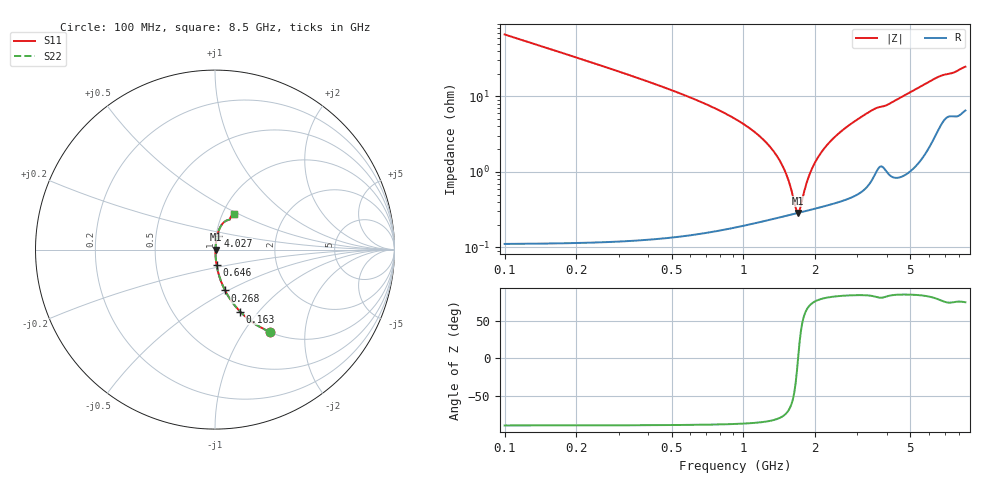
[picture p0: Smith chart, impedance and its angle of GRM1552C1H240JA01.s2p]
!Murata Part Number: GRM1552C1H240JA01
!These Parameters are Measured in Series Mode Connection
!Data Generated on Mar 30, 2021
!  o--ll--o
!Port1  Port2
!  o------o
!Operation Temp=25[degC], DC Bias Voltage=0[V]
!Freq. Start=100[MHz] Stop=9[GHz] 401[Steps]
# Hz S RI R 50
!Freq.(Hz) S11(Real) S11(Imag) S21(Real) S21(Imag) S12(Real) S12(Imag) S22(Real) S22(Imag)
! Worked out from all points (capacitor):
!   401 points, 100 MHz to 8.5 GHz, reference 50 ohm
!   read as one part in series: C = 24 pF near 142 MHz
!   lowest |Z| = 286 mohm at 1.696 GHz (marker M1)
!   series resonance near 1.694 GHz, so ESL is about 370 pH
!   S11 on the Smith chart (normalised r, x): 100 MHz: 1.00, -1.32; 163 MHz: 1.00, -0.81; 268 MHz: 1.00, -0.48; 646 MHz: 1.00, -0.18; 4.027 GHz: 1.02, +0.15; 8.5 GHz: 1.13, +0.48
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1e8  0.3042 -0.4592  0.6958 0.4592  0.6958 0.4592  0.3042 -0.4592
1.63e8  0.1404 -0.346  0.8596 0.346  0.8596 0.346  0.1404 -0.346
2.68e8  0.0559 -0.2274  0.9441 0.2274  0.9441 0.2274  0.0559 -0.2274
4.15e8  0.0232 -0.1464  0.9768 0.1464  0.9768 0.1464  0.0232 -0.1464
6.46e8  0.00907 -0.0866  0.9909 0.0866  0.9909 0.0866  0.00907 -0.0866
1.234e9  0.00287 -0.025  0.9971 0.025  0.9971 0.025  0.00287 -0.025
1.381e9  0.00269 -0.016  0.9973 0.016  0.9973 0.016  0.00269 -0.016
1.507e9  0.00269 -0.00911  0.9973 0.00911  0.9973 0.00911  0.00269 -0.00911
1.654e9  0.0028 -0.00185  0.9972 0.00185  0.9972 0.00185  0.0028 -0.00185
1.696e9  0.00285 0.000103  0.9971 -0.000103  0.9971 -0.000103  0.00285 0.000103
1.738e9  0.00291 0.00201  0.9971 -0.00201  0.9971 -0.00201  0.00291 0.00201
1.822e9  0.00305 0.0057  0.9969 -0.0057  0.9969 -0.0057  0.00305 0.0057
1.906e9  0.00321 0.00924  0.9968 -0.00924  0.9968 -0.00924  0.00321 0.00924
2.095e9  0.00366 0.0168  0.9963 -0.0168  0.9963 -0.0168  0.00366 0.0168
2.431e9  0.0047 0.0291  0.9953 -0.0291  0.9953 -0.0291  0.0047 0.0291
2.914e9  0.00685 0.0457  0.9932 -0.0457  0.9932 -0.0457  0.00685 0.0457
3.502e9  0.0127 0.0652  0.9873 -0.0652  0.9873 -0.0652  0.0127 0.0652
4.027e9  0.0153 0.0755  0.9847 -0.0755  0.9847 -0.0755  0.0153 0.0755
4.3e9  0.0156 0.085  0.9844 -0.085  0.9844 -0.085  0.0156 0.085
5.707e9  0.0351 0.1352  0.9649 -0.1352  0.9649 -0.1352  0.0351 0.1352
7.114e9  0.0798 0.1658  0.9202 -0.1658  0.9202 -0.1658  0.0798 0.1658
8.5e9  0.106 0.2003  0.894 -0.2003  0.894 -0.2003  0.106 0.2003
